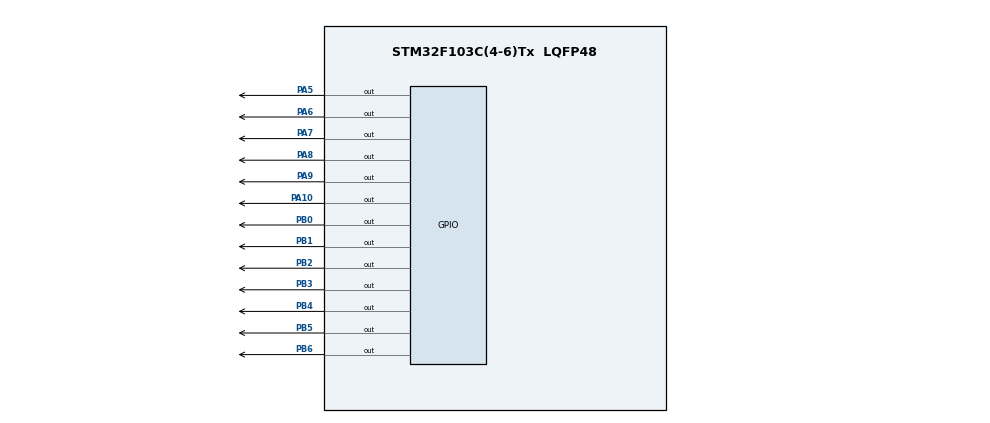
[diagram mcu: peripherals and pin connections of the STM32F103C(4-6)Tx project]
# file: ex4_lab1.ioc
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Mcu.Family=STM32F1
Mcu.Name=STM32F103C(4-6)Tx
Mcu.Package=LQFP48
NVIC.PriorityGroup=NVIC_PRIORITYGROUP_4
PA10.Signal=GPIO_Output
PA5.Signal=GPIO_Output
PA6.Signal=GPIO_Output
PA7.Signal=GPIO_Output
PA8.Signal=GPIO_Output
PA9.Signal=GPIO_Output
PB0.Signal=GPIO_Output
PB1.Signal=GPIO_Output
PB2.Signal=GPIO_Output
PB3.Signal=GPIO_Output
PB4.Signal=GPIO_Output
PB5.Signal=GPIO_Output
PB6.Signal=GPIO_Output
ProjectManager.HeapSize=0x200
ProjectManager.StackSize=0x400
ProjectManager.TargetToolchain=STM32CubeIDE
RCC.APB1Freq_Value=8000000
RCC.APB2Freq_Value=8000000
board=custom

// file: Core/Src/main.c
/* USER CODE BEGIN Header */
/**
  ******************************************************************************
  * @file           : main.c
  * @brief          : Main program body
  ******************************************************************************
  * @attention
  *
  * Copyright (c) 2025 STMicroelectronics.
  * All rights reserved.
  *
  * This software is licensed under terms that can be found in the LICENSE file
  * in the root directory of this software component.
  * If no LICENSE file comes with this software, it is provided AS-IS.
  *
  ******************************************************************************
  */
/* USER CODE END Header */
#include "main.h"

void SystemClock_Config(void);
static void MX_GPIO_Init(void);

/* USER CODE BEGIN 0 */
void display7SEG(int *a){
	switch(*a){
		case 0:
			HAL_GPIO_WritePin(GPIOB, GPIO_PIN_6, SET);
			HAL_GPIO_WritePin(GPIOB, GPIO_PIN_0|GPIO_PIN_1|GPIO_PIN_2|GPIO_PIN_3|GPIO_PIN_4|GPIO_PIN_5, RESET);
			break;
		case 1:
			HAL_GPIO_WritePin(GPIOB, GPIO_PIN_0|GPIO_PIN_3|GPIO_PIN_4|GPIO_PIN_5|GPIO_PIN_6, SET);
			HAL_GPIO_WritePin(GPIOB, GPIO_PIN_1|GPIO_PIN_2, RESET);
			break;
		case 2:
			HAL_GPIO_WritePin(GPIOB, GPIO_PIN_2|GPIO_PIN_5, SET);
			HAL_GPIO_WritePin(GPIOB, GPIO_PIN_0|GPIO_PIN_1|GPIO_PIN_3|GPIO_PIN_4|GPIO_PIN_6, RESET);
			break;
		case 3:
			HAL_GPIO_WritePin(GPIOB, GPIO_PIN_4|GPIO_PIN_5, SET);
			HAL_GPIO_WritePin(GPIOB, GPIO_PIN_0|GPIO_PIN_1|GPIO_PIN_2|GPIO_PIN_3|GPIO_PIN_6, RESET);
			break;
		case 4:
			HAL_GPIO_WritePin(GPIOB, GPIO_PIN_0|GPIO_PIN_3|GPIO_PIN_4, SET);
			HAL_GPIO_WritePin(GPIOB, GPIO_PIN_1|GPIO_PIN_2|GPIO_PIN_5|GPIO_PIN_6, RESET);
			break;
		case 5:
			HAL_GPIO_WritePin(GPIOB, GPIO_PIN_1|GPIO_PIN_4, SET);
			HAL_GPIO_WritePin(GPIOB, GPIO_PIN_0|GPIO_PIN_2|GPIO_PIN_3|GPIO_PIN_5|GPIO_PIN_6, RESET);
			break;
		case 6:
			HAL_GPIO_WritePin(GPIOB, GPIO_PIN_1, SET);
			HAL_GPIO_WritePin(GPIOB, GPIO_PIN_0|GPIO_PIN_2|GPIO_PIN_3|GPIO_PIN_4|GPIO_PIN_5|GPIO_PIN_6, RESET);
			break;
		case 7:
			HAL_GPIO_WritePin(GPIOB, GPIO_PIN_3|GPIO_PIN_4|GPIO_PIN_5|GPIO_PIN_6, SET);
			HAL_GPIO_WritePin(GPIOB, GPIO_PIN_0|GPIO_PIN_1|GPIO_PIN_2, RESET);
			break;
		case 8:
			HAL_GPIO_WritePin(GPIOB, GPIO_PIN_0|GPIO_PIN_1|GPIO_PIN_2|GPIO_PIN_3|GPIO_PIN_4|GPIO_PIN_5|GPIO_PIN_6, RESET);
			break;
		case 9:
			HAL_GPIO_WritePin(GPIOB, GPIO_PIN_4, SET);
			HAL_GPIO_WritePin(GPIOB, GPIO_PIN_0|GPIO_PIN_1|GPIO_PIN_2|GPIO_PIN_3|GPIO_PIN_5|GPIO_PIN_6, RESET);
			break;
		default:
			HAL_GPIO_WritePin(GPIOB, GPIO_PIN_0|GPIO_PIN_1|GPIO_PIN_2|GPIO_PIN_3|GPIO_PIN_4|GPIO_PIN_5|GPIO_PIN_6, SET);
		}
	}

void led_1(int *f1, int *t1){
	if((*f1 == 1) && (*t1 == 0)){
		*f1 = 2;
		*t1 = 3;
	}
	else if ((*f1 == 2) && (*t1 == 0)){
		*f1 = 3;
		*t1 = 2;
	}
	else if ((*f1 == 3) && (*t1 == 0)){
		*f1 = 1;
		*t1 = 5;
	}

	if(*f1 == 1){
		HAL_GPIO_WritePin(GPIOA, GPIO_PIN_5, SET);
		HAL_GPIO_WritePin(GPIOA, GPIO_PIN_6, RESET);
	}
	else if(*f1 == 2){
		HAL_GPIO_WritePin(GPIOA, GPIO_PIN_7, SET);
		HAL_GPIO_WritePin(GPIOA, GPIO_PIN_5, RESET);
	}
	else if(*f1 == 3){
		HAL_GPIO_WritePin(GPIOA, GPIO_PIN_6, SET);
		HAL_GPIO_WritePin(GPIOA, GPIO_PIN_7, RESET);
	}
	else{
		HAL_GPIO_WritePin(GPIOA, GPIO_PIN_6, SET);
		HAL_GPIO_WritePin(GPIOA, GPIO_PIN_7, RESET);
	}
	(*t1)--;
	display7SEG(t1);
}
void led_2(int *f2, int *t2){
	if((*f2 == 1) && (*t2 == 0)){
		*f2 = 2;
		*t2 = 3;
	}
	else if((*f2 == 2) && (*t2 == 0)){
		*f2 = 3;
		*t2 = 2;
	}
	else if((*f2 == 3) && (*t2 == 0)){
		*f2 = 1;
		*t2 = 5;
	}
	if(*f2 == 1){
		HAL_GPIO_WritePin(GPIOA, GPIO_PIN_9, RESET);
		HAL_GPIO_WritePin(GPIOA, GPIO_PIN_8, SET);
	}
	else if(*f2 == 2){
		HAL_GPIO_WritePin(GPIOA, GPIO_PIN_8, RESET);
		HAL_GPIO_WritePin(GPIOA, GPIO_PIN_10, SET);
	}
	else if(*f2 == 3){
		HAL_GPIO_WritePin(GPIOA, GPIO_PIN_10, RESET);
		HAL_GPIO_WritePin(GPIOA, GPIO_PIN_9, SET);
	}
	else{
		HAL_GPIO_WritePin(GPIOA, GPIO_PIN_9, RESET);
		HAL_GPIO_WritePin(GPIOA, GPIO_PIN_9, SET);
	}
	(*t2)--;
}

/* USER CODE END 0 */

int main(void)
{

  /* MCU Configuration--------------------------------------------------------*/

  /* Reset of all peripherals, Initializes the Flash interface and the Systick. */
  HAL_Init();

  /* Configure the system clock */
  SystemClock_Config();

  /* Initialize all configured peripherals */
  MX_GPIO_Init();
  /* USER CODE BEGIN 2 */
  	  int f1 = 2;
      int t1 = 3;
      int f2 = 1;
      int t2 = 5;
  /* USER CODE END 2 */

  /* Infinite loop */
  /* USER CODE BEGIN WHILE */
  while (1)
  {
	  led_1(&f1, &t1);
	  led_2(&f2, &t2);
	  HAL_Delay(1000);

    /* USER CODE END WHILE */

  }
}

void SystemClock_Config(void)
{
  RCC_OscInitTypeDef RCC_OscInitStruct = {0};
  RCC_ClkInitTypeDef RCC_ClkInitStruct = {0};

  /** Initializes the RCC Oscillators according to the specified parameters
  * in the RCC_OscInitTypeDef structure.
  */
  RCC_OscInitStruct.OscillatorType = RCC_OSCILLATORTYPE_HSI;
  RCC_OscInitStruct.HSIState = RCC_HSI_ON;
  RCC_OscInitStruct.HSICalibrationValue = RCC_HSICALIBRATION_DEFAULT;
  RCC_OscInitStruct.PLL.PLLState = RCC_PLL_NONE;
  if (HAL_RCC_OscConfig(&RCC_OscInitStruct) != HAL_OK)
  {
    Error_Handler();
  }

  /** Initializes the CPU, AHB and APB buses clocks
  */
  RCC_ClkInitStruct.ClockType = RCC_CLOCKTYPE_HCLK|RCC_CLOCKTYPE_SYSCLK
                              |RCC_CLOCKTYPE_PCLK1|RCC_CLOCKTYPE_PCLK2;
  RCC_ClkInitStruct.SYSCLKSource = RCC_SYSCLKSOURCE_HSI;
  RCC_ClkInitStruct.AHBCLKDivider = RCC_SYSCLK_DIV1;
  RCC_ClkInitStruct.APB1CLKDivider = RCC_HCLK_DIV1;
  RCC_ClkInitStruct.APB2CLKDivider = RCC_HCLK_DIV1;

  if (HAL_RCC_ClockConfig(&RCC_ClkInitStruct, FLASH_LATENCY_0) != HAL_OK)
  {
    Error_Handler();
  }
}

static void MX_GPIO_Init(void)
{
  GPIO_InitTypeDef GPIO_InitStruct = {0};

  /* GPIO Ports Clock Enable */
  __HAL_RCC_GPIOA_CLK_ENABLE();
  __HAL_RCC_GPIOB_CLK_ENABLE();

  /*Configure GPIO pin Output Level */
  HAL_GPIO_WritePin(GPIOA, GPIO_PIN_5|GPIO_PIN_6|GPIO_PIN_7|GPIO_PIN_8
                          |GPIO_PIN_9|GPIO_PIN_10, GPIO_PIN_RESET);

  /*Configure GPIO pin Output Level */
  HAL_GPIO_WritePin(GPIOB, GPIO_PIN_0|GPIO_PIN_1|GPIO_PIN_2|GPIO_PIN_3
                          |GPIO_PIN_4|GPIO_PIN_5|GPIO_PIN_6, GPIO_PIN_RESET);

  /*Configure GPIO pins : PA5 PA6 PA7 PA8
                           PA9 PA10 */
  GPIO_InitStruct.Pin = GPIO_PIN_5|GPIO_PIN_6|GPIO_PIN_7|GPIO_PIN_8
                          |GPIO_PIN_9|GPIO_PIN_10;
  GPIO_InitStruct.Mode = GPIO_MODE_OUTPUT_PP;
  GPIO_InitStruct.Pull = GPIO_NOPULL;
  GPIO_InitStruct.Speed = GPIO_SPEED_FREQ_LOW;
  HAL_GPIO_Init(GPIOA, &GPIO_InitStruct);

  /*Configure GPIO pins : PB0 PB1 PB2 PB3
                           PB4 PB5 PB6 */
  GPIO_InitStruct.Pin = GPIO_PIN_0|GPIO_PIN_1|GPIO_PIN_2|GPIO_PIN_3
                          |GPIO_PIN_4|GPIO_PIN_5|GPIO_PIN_6;
  GPIO_InitStruct.Mode = GPIO_MODE_OUTPUT_PP;
  GPIO_InitStruct.Pull = GPIO_NOPULL;
  GPIO_InitStruct.Speed = GPIO_SPEED_FREQ_LOW;
  HAL_GPIO_Init(GPIOB, &GPIO_InitStruct);

}

void Error_Handler(void)
{
  __disable_irq();
  while (1)
  {
  }
}
